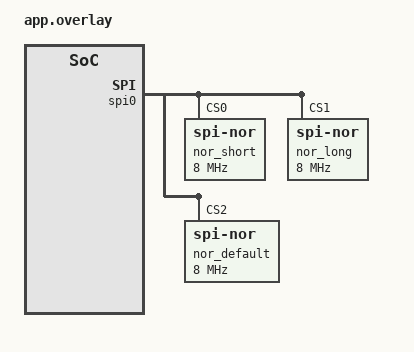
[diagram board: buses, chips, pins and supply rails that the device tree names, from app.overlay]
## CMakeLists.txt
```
# SPDX-FileCopyrightText: Copyright The Zephyr Project Contributors
# SPDX-License-Identifier: Apache-2.0

cmake_minimum_required(VERSION 3.20.0)
find_package(Zephyr REQUIRED HINTS $ENV{ZEPHYR_BASE})
project(spi_nor_wait_ready)

target_sources(app PRIVATE src/main.c)
target_include_directories(app PRIVATE ${ZEPHYR_BASE}/drivers/flash)
```

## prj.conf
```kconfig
# SPDX-FileCopyrightText: Copyright The Zephyr Project Contributors
# SPDX-License-Identifier: Apache-2.0

CONFIG_ZTEST=y
CONFIG_EMUL=y
CONFIG_SPI=y
CONFIG_FLASH=y
CONFIG_SPI_NOR_SFDP_MINIMAL=y
```

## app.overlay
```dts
/*
 * SPDX-FileCopyrightText: Copyright The Zephyr Project Contributors
 * SPDX-License-Identifier: Apache-2.0
 */

&spi0 {
	nor_short: flash@0 {
		compatible = "jedec,spi-nor";
		reg = <0>;
		spi-max-frequency = <8000000>;
		jedec-id = [ef 40 15];
		size = <DT_SIZE_M(16)>;
		wait-ready-timeout-ms = <200>;
	};

	nor_long: flash@1 {
		compatible = "jedec,spi-nor";
		reg = <1>;
		spi-max-frequency = <8000000>;
		jedec-id = [ef 40 15];
		size = <DT_SIZE_M(16)>;
		wait-ready-timeout-ms = <400>;
	};

	nor_default: flash@2 {
		compatible = "jedec,spi-nor";
		reg = <2>;
		spi-max-frequency = <8000000>;
		jedec-id = [ef 40 15];
		size = <DT_SIZE_M(16)>;
	};
};
```

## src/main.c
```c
/*
 * SPDX-FileCopyrightText: Copyright The Zephyr Project Contributors
 * SPDX-License-Identifier: Apache-2.0
 */

#define DT_DRV_COMPAT jedec_spi_nor

#include <errno.h>
#include <zephyr/device.h>
#include <zephyr/drivers/emul.h>
#include <zephyr/drivers/flash.h>
#include <zephyr/drivers/spi.h>
#include <zephyr/drivers/spi_emul.h>
#include <zephyr/kernel.h>
#include <zephyr/ztest.h>

#include "spi_nor.h"

#define NOR_SHORT   DT_NODELABEL(nor_short)
#define NOR_LONG    DT_NODELABEL(nor_long)
#define NOR_DEFAULT DT_NODELABEL(nor_default)

#define SHORT_TIMEOUT_MS   DT_PROP(NOR_SHORT, wait_ready_timeout_ms)
#define LONG_TIMEOUT_MS    DT_PROP(NOR_LONG, wait_ready_timeout_ms)
#define DEFAULT_TIMEOUT_MS 1500000

#define TIMEOUT_MARGIN_MS (2 * CONFIG_SPI_NOR_SLEEP_ERASE_MS)

static const uint8_t jedec_id[] = DT_PROP(NOR_SHORT, jedec_id);

static bool busy;
static int busy_polls;
static int rdsr_count;
static int64_t clear_at_ms;

static int spi_nor_emul_io(const struct emul *target, const struct spi_config *config,
			   const struct spi_buf_set *tx_bufs, const struct spi_buf_set *rx_bufs)
{
	const uint8_t opcode = *(const uint8_t *)tx_bufs->buffers[0].buf;
	uint8_t *data = NULL;
	size_t len = 0;

	ARG_UNUSED(target);
	ARG_UNUSED(config);

	if (rx_bufs != NULL && rx_bufs->count > 1) {
		data = rx_bufs->buffers[1].buf;
		len = rx_bufs->buffers[1].len;
	}

	switch (opcode) {
	case SPI_NOR_CMD_RDID:
		memcpy(data, jedec_id, MIN(len, sizeof(jedec_id)));
		break;
	case SPI_NOR_CMD_RDSR:
		rdsr_count++;
		if (busy && busy_polls > 0) {
			busy_polls--;
			busy = busy_polls > 0;
		}
		if (clear_at_ms != 0 && k_uptime_get() >= clear_at_ms) {
			busy = false;
		}
		data[0] = busy ? SPI_NOR_WIP_BIT : 0;
		break;
	case SPI_NOR_CMD_SE:
		busy = true;
		break;
	default:
		break;
	}

	return 0;
}

static const struct spi_emul_api spi_nor_emul_api = {
	.io = spi_nor_emul_io,
};

static int spi_nor_emul_init(const struct emul *target, const struct device *parent)
{
	ARG_UNUSED(target);
	ARG_UNUSED(parent);

	return 0;
}

#define SPI_NOR_EMUL_DEFINE(inst)                                                                  \
	EMUL_DT_INST_DEFINE(inst, spi_nor_emul_init, NULL, NULL, &spi_nor_emul_api, NULL);

DT_INST_FOREACH_STATUS_OKAY(SPI_NOR_EMUL_DEFINE)

static const struct device *const nor_short = DEVICE_DT_GET(NOR_SHORT);
static const struct device *const nor_long = DEVICE_DT_GET(NOR_LONG);
static const struct device *const nor_default = DEVICE_DT_GET(NOR_DEFAULT);

static void assert_erase_times_out_after(const struct device *dev, int64_t timeout_ms)
{
	int64_t start = k_uptime_get();
	int64_t elapsed;

	zassert_true(device_is_ready(dev));
	zassert_equal(flash_erase(dev, 0, 4096), -ETIMEDOUT);

	elapsed = k_uptime_get() - start;
	zassert_true(elapsed >= timeout_ms, "timed out after %lld ms", (long long)elapsed);
	zassert_true(elapsed <= timeout_ms + TIMEOUT_MARGIN_MS, "timed out after %lld ms",
		     (long long)elapsed);
	zassert_true(rdsr_count > 1);
	zassert_true(busy);
}

static void spi_nor_wait_ready_before(void *fixture)
{
	ARG_UNUSED(fixture);

	busy = false;
	busy_polls = 0;
	rdsr_count = 0;
	clear_at_ms = 0;
}

ZTEST(spi_nor_wait_ready, test_erase_completes)
{
	busy_polls = 3;

	zassert_true(device_is_ready(nor_short));
	zassert_ok(flash_erase(nor_short, 0, 4096));
	zassert_true(rdsr_count >= 3);
}

ZTEST(spi_nor_wait_ready, test_erase_times_out_when_wip_stays_set)
{
	assert_erase_times_out_after(nor_short, SHORT_TIMEOUT_MS);
}

ZTEST(spi_nor_wait_ready, test_timeout_is_per_instance)
{
	assert_erase_times_out_after(nor_long, LONG_TIMEOUT_MS);
}

ZTEST(spi_nor_wait_ready, test_default_timeout)
{
	assert_erase_times_out_after(nor_default, DEFAULT_TIMEOUT_MS);
}

ZTEST(spi_nor_wait_ready, test_erase_completes_when_wip_clears_at_deadline)
{
	int64_t start = k_uptime_get();

	clear_at_ms = start + SHORT_TIMEOUT_MS;

	zassert_true(device_is_ready(nor_short));
	zassert_ok(flash_erase(nor_short, 0, 4096));
	zassert_true(k_uptime_get() - start >= SHORT_TIMEOUT_MS);
}

ZTEST_SUITE(spi_nor_wait_ready, NULL, NULL, spi_nor_wait_ready_before, NULL, NULL);
```
